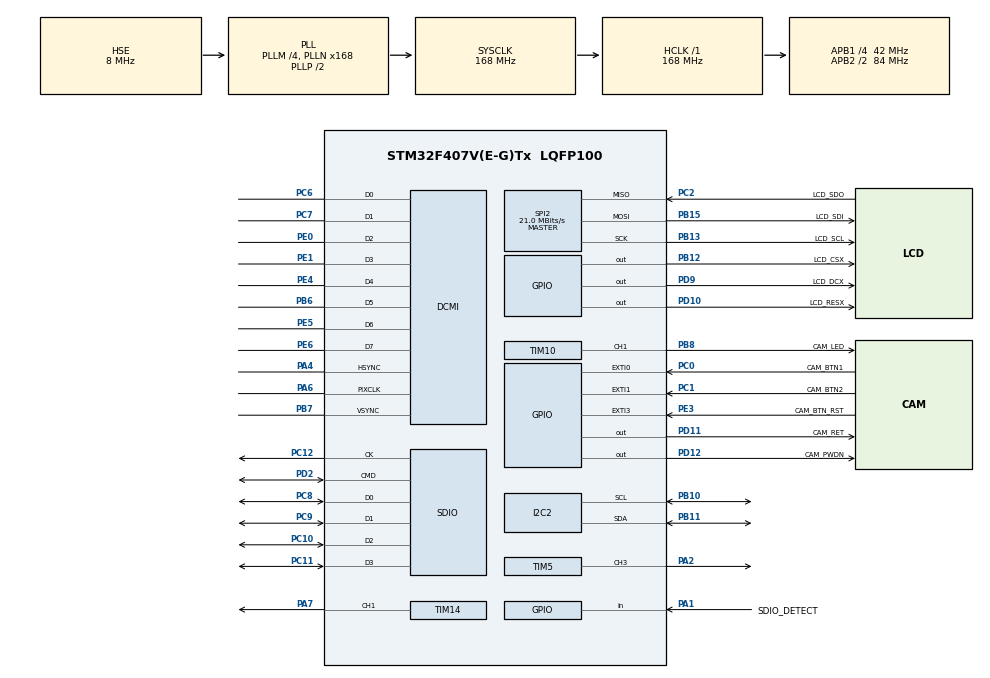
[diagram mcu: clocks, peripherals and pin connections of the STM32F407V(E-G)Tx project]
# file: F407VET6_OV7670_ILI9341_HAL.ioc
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DCMI.PCKPolarity=DCMI_PCKPOLARITY_RISING
DCMI.VSPolarity=DCMI_VSPOLARITY_HIGH
Dma.DCMI.1.Direction=DMA_PERIPH_TO_MEMORY
Dma.DCMI.1.FIFOMode=DMA_FIFOMODE_DISABLE
Dma.DCMI.1.Instance=DMA2_Stream1
Dma.DCMI.1.MemDataAlignment=DMA_MDATAALIGN_WORD
Dma.DCMI.1.MemInc=DMA_MINC_ENABLE
Dma.DCMI.1.Mode=DMA_NORMAL
Dma.DCMI.1.PeriphDataAlignment=DMA_PDATAALIGN_WORD
Dma.DCMI.1.PeriphInc=DMA_PINC_DISABLE
Dma.DCMI.1.Priority=DMA_PRIORITY_LOW
Dma.Request0=SPI2_TX
Dma.Request1=DCMI
Dma.SPI2_TX.0.Direction=DMA_MEMORY_TO_PERIPH
Dma.SPI2_TX.0.FIFOMode=DMA_FIFOMODE_DISABLE
Dma.SPI2_TX.0.Instance=DMA1_Stream4
Dma.SPI2_TX.0.MemDataAlignment=DMA_MDATAALIGN_HALFWORD
Dma.SPI2_TX.0.MemInc=DMA_MINC_ENABLE
Dma.SPI2_TX.0.Mode=DMA_NORMAL
Dma.SPI2_TX.0.PeriphDataAlignment=DMA_PDATAALIGN_HALFWORD
Dma.SPI2_TX.0.PeriphInc=DMA_PINC_DISABLE
Dma.SPI2_TX.0.Priority=DMA_PRIORITY_VERY_HIGH
FATFS.BSP.number=1
FATFS._CODE_PAGE=850
FATFS._MAX_SS=4096
FATFS._USE_LFN=3
FATFS0.BSP.STBoard=false
FATFS0.BSP.api=Unknown
FATFS0.BSP.instance=PA1
FATFS0.BSP.ip=GPIO
FATFS0.BSP.mode=Input
FATFS0.BSP.name=Detect_SDIO
FATFS0.BSP.solution=PA1
I2C2.I2C_Mode=I2C_Fast
Mcu.Family=STM32F4
Mcu.Name=STM32F407V(E-G)Tx
Mcu.Package=LQFP100
NVIC.DCMI_IRQn=true\:2\:0\:true\:false\:true\:true\:true\:true
NVIC.DMA1_Stream4_IRQn=true\:2\:0\:true\:false\:true\:false\:true\:true
NVIC.DMA2_Stream1_IRQn=true\:2\:0\:true\:false\:true\:false\:true\:true
NVIC.EXTI0_IRQn=true\:0\:0\:true\:false\:true\:true\:true\:true
NVIC.EXTI1_IRQn=true\:0\:0\:true\:false\:true\:true\:true\:true
NVIC.EXTI3_IRQn=true\:0\:0\:false\:false\:true\:true\:true\:true
NVIC.PriorityGroup=NVIC_PRIORITYGROUP_4
NVIC.TIM1_TRG_COM_TIM11_IRQn=true\:1\:0\:true\:false\:true\:true\:true\:true
PA1.GPIO_Label=SDIO_DETECT
PA1.GPIO_PuPd=GPIO_PULLDOWN
PA1.Signal=GPIO_Input
PA13.Mode=Trace_Asynchronous_SW
PA13.Signal=SYS_JTMS-SWDIO
PA14.Mode=Trace_Asynchronous_SW
PA14.Signal=SYS_JTCK-SWCLK
PA2.GPIO_Speed=GPIO_SPEED_FREQ_VERY_HIGH
PA2.Signal=S_TIM5_CH3
PA4.GPIO_PuPd=GPIO_PULLDOWN
PA4.GPIO_Speed=GPIO_SPEED_FREQ_VERY_HIGH
PA4.Mode=Slave_8_bits_External_Synchro
PA4.Signal=DCMI_HSYNC
PA6.GPIO_PuPd=GPIO_PULLDOWN
PA6.GPIO_Speed=GPIO_SPEED_FREQ_VERY_HIGH
PA6.Mode=Slave_8_bits_External_Synchro
PA6.Signal=DCMI_PIXCLK
PA7.Signal=S_TIM14_CH1
PB10.GPIO_Pu=GPIO_PULLUP
PB10.Mode=I2C
PB10.Signal=I2C2_SCL
PB11.GPIO_Pu=GPIO_PULLUP
PB11.Mode=I2C
PB11.Signal=I2C2_SDA
PB12.GPIO_Label=LCD_CSX
PB12.GPIO_Speed=GPIO_SPEED_FREQ_VERY_HIGH
PB12.PinState=GPIO_PIN_SET
PB12.Signal=GPIO_Output
PB13.GPIO_Label=LCD_SCL
PB13.Mode=Full_Duplex_Master
PB13.Signal=SPI2_SCK
PB15.GPIO_Label=LCD_SDI
PB15.Mode=Full_Duplex_Master
PB15.Signal=SPI2_MOSI
PB3.Mode=Trace_Asynchronous_SW
PB3.Signal=SYS_JTDO-SWO
PB6.GPIO_PuPd=GPIO_PULLDOWN
PB6.GPIO_Speed=GPIO_SPEED_FREQ_VERY_HIGH
PB6.Mode=Slave_8_bits_External_Synchro
PB6.Signal=DCMI_D5
PB7.GPIO_PuPd=GPIO_PULLDOWN
PB7.GPIO_Speed=GPIO_SPEED_FREQ_VERY_HIGH
PB7.Mode=Slave_8_bits_External_Synchro
PB7.Signal=DCMI_VSYNC
PB8.GPIO_Label=CAM_LED
PB8.Signal=S_TIM10_CH1
PC0.GPIO_Label=CAM_BTN1
PC0.GPIO_ModeDefaultEXTI=GPIO_MODE_IT_RISING_FALLING
PC0.GPIO_PuPd=GPIO_NOPULL
PC0.Signal=GPXTI0
PC1.GPIO_Label=CAM_BTN2
PC1.GPIO_ModeDefaultEXTI=GPIO_MODE_IT_RISING_FALLING
PC1.Signal=GPXTI1
PC10.GPIO_PuPd=GPIO_PULLUP
PC10.Mode=SD_4_bits_Wide_bus
PC10.Signal=SDIO_D2
PC11.GPIO_PuPd=GPIO_PULLUP
PC11.Mode=SD_4_bits_Wide_bus
PC11.Signal=SDIO_D3
PC12.GPIO_PuPd=GPIO_PULLUP
PC12.Mode=SD_4_bits_Wide_bus
PC12.Signal=SDIO_CK
PC2.GPIO_Label=LCD_SDO
PC2.Mode=Full_Duplex_Master
PC2.Signal=SPI2_MISO
PC6.GPIO_PuPd=GPIO_PULLDOWN
PC6.GPIO_Speed=GPIO_SPEED_FREQ_VERY_HIGH
PC6.Mode=Slave_8_bits_External_Synchro
PC6.Signal=DCMI_D0
PC7.GPIO_PuPd=GPIO_PULLDOWN
PC7.GPIO_Speed=GPIO_SPEED_FREQ_VERY_HIGH
PC7.Mode=Slave_8_bits_External_Synchro
PC7.Signal=DCMI_D1
PC8.GPIO_PuPd=GPIO_PULLUP
PC8.Mode=SD_4_bits_Wide_bus
PC8.Signal=SDIO_D0
PC9.GPIO_PuPd=GPIO_PULLUP
PC9.Mode=SD_4_bits_Wide_bus
PC9.Signal=SDIO_D1
PD10.GPIO_Label=LCD_RESX
PD10.GPIO_Speed=GPIO_SPEED_FREQ_HIGH
PD10.PinState=GPIO_PIN_SET
PD10.Signal=GPIO_Output
PD11.GPIO_Label=CAM_RET
PD11.Signal=GPIO_Output
PD12.GPIO_Label=CAM_PWDN
PD12.Signal=GPIO_Output
PD2.GPIO_PuPd=GPIO_PULLUP
PD2.Mode=SD_4_bits_Wide_bus
PD2.Signal=SDIO_CMD
PD9.GPIO_Label=LCD_DCX
PD9.GPIO_Speed=GPIO_SPEED_FREQ_HIGH
PD9.PinState=GPIO_PIN_SET
PD9.Signal=GPIO_Output
PE0.GPIO_PuPd=GPIO_PULLDOWN
PE0.GPIO_Speed=GPIO_SPEED_FREQ_VERY_HIGH
PE0.Mode=Slave_8_bits_External_Synchro
PE0.Signal=DCMI_D2
PE1.GPIO_PuPd=GPIO_PULLDOWN
PE1.GPIO_Speed=GPIO_SPEED_FREQ_VERY_HIGH
PE1.Mode=Slave_8_bits_External_Synchro
PE1.Signal=DCMI_D3
PE3.GPIO_Label=CAM_BTN_RST
PE3.GPIO_ModeDefaultEXTI=GPIO_MODE_IT_FALLING
PE3.GPIO_PuPd=GPIO_PULLUP
PE3.Signal=GPXTI3
PE4.GPIO_PuPd=GPIO_PULLDOWN
PE4.GPIO_Speed=GPIO_SPEED_FREQ_VERY_HIGH
PE4.Mode=Slave_8_bits_External_Synchro
PE4.Signal=DCMI_D4
PE5.GPIO_PuPd=GPIO_PULLDOWN
PE5.GPIO_Speed=GPIO_SPEED_FREQ_VERY_HIGH
PE5.Mode=Slave_8_bits_External_Synchro
PE5.Signal=DCMI_D6
PE6.GPIO_PuPd=GPIO_PULLDOWN
PE6.GPIO_Speed=GPIO_SPEED_FREQ_VERY_HIGH
PE6.Mode=Slave_8_bits_External_Synchro
PE6.Signal=DCMI_D7
PH0-OSC_IN.Mode=HSE-External-Oscillator
PH0-OSC_IN.Signal=RCC_OSC_IN
PH1-OSC_OUT.Mode=HSE-External-Oscillator
PH1-OSC_OUT.Signal=RCC_OSC_OUT
ProjectManager.HeapSize=0x100
ProjectManager.StackSize=0x600
ProjectManager.TargetToolchain=STM32CubeIDE
RCC.48MHZClocksFreq_Value=48000000
RCC.AHBFreq_Value=168000000
RCC.APB1CLKDivider=RCC_HCLK_DIV4
RCC.APB1Freq_Value=42000000
RCC.APB1TimFreq_Value=84000000
RCC.APB2CLKDivider=RCC_HCLK_DIV2
RCC.APB2Freq_Value=84000000
RCC.APB2TimFreq_Value=168000000
RCC.CortexFreq_Value=168000000
RCC.HCLKFreq_Value=168000000
RCC.HSE_VALUE=8000000
RCC.HSI_VALUE=16000000
RCC.LSE_VALUE=32768
RCC.PLLM=4
RCC.PLLN=168
RCC.PLLQ=7
RCC.PLLSourceVirtual=RCC_PLLSOURCE_HSE
RCC.RCC_MCO1Source=RCC_MCO1SOURCE_PLLCLK
RCC.RCC_MCODiv1=RCC_MCODIV_4
RCC.SYSCLKFreq_VALUE=168000000
RCC.SYSCLKSource=RCC_SYSCLKSOURCE_PLLCLK
RCC.VCOOutputFreq_Value=336000000
SDIO.ClockDiv=4
SH.S_TIM10_CH1.0=TIM10_CH1,Output Compare1 CH1
SH.S_TIM14_CH1.0=TIM14_CH1,PWM Generation1 CH1
SH.S_TIM5_CH3.0=TIM5_CH3,Output Compare3 CH3
SPI2.BaudRatePrescaler=SPI_BAUDRATEPRESCALER_2
SPI2.CalculateBaudRate=21.0 MBits/s
SPI2.DataSize=SPI_DATASIZE_8BIT
SPI2.Direction=SPI_DIRECTION_2LINES
SPI2.Mode=SPI_MODE_MASTER
SPI2.VirtualType=VM_MASTER
TIM10.Channel=TIM_CHANNEL_1
TIM10.ClockDivision=TIM_CLOCKDIVISION_DIV4
TIM10.OCMode_1=TIM_OCMODE_TOGGLE
TIM10.Period=999
TIM10.Prescaler=8399
TIM10.Pulse=500
TIM11.ClockDivision=TIM_CLOCKDIVISION_DIV2
TIM11.Period=99
TIM11.Prescaler=8399
TIM14.Channel=TIM_CHANNEL_1
TIM14.OCMode_PWM=TIM_OCMODE_PWM2
TIM5.AutoReloadPreload=TIM_AUTORELOAD_PRELOAD_DISABLE
TIM5.Channel-Output\ Compare3\ CH3=TIM_CHANNEL_3
TIM5.ClockDivision=TIM_CLOCKDIVISION_DIV1
TIM5.OC3Preload=DISABLE
TIM5.OCMode_3=TIM_OCMODE_TOGGLE
TIM5.OCPolarity_3=TIM_OCPOLARITY_LOW
TIM5.Period=1
TIM5.Prescaler=0
TIM5.Pulse-Output\ Compare3\ CH3=1
TIM5.TIM_MasterOutputTrigger=TIM_TRGO_RESET
VP_FATFS_VS_SDIO.Mode=SDIO
VP_LIBJPEG_VS_JPEGLIB.Mode=Enabled
VP_TIM10_VS_ClockSourceINT.Mode=Enable_Timer
VP_TIM11_VS_ClockSourceINT.Mode=Enable_Timer
VP_TIM14_VS_ClockSourceINT.Mode=Enable_Timer
board=custom

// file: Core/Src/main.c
/* USER CODE BEGIN Header */
/**
  ******************************************************************************
  * @file           : main.c
  * @brief          : Main program body
  ******************************************************************************
  * @attention
  *
  * Copyright (c) 2024 STMicroelectronics.
  * All rights reserved.
  *
  * This software is licensed under terms that can be found in the LICENSE file
  * in the root directory of this software component.
  * If no LICENSE file comes with this software, it is provided AS-IS.
  *
  ******************************************************************************
  */
/* USER CODE END Header */
#include "main.h"
#include "dcmi.h"
#include "dma.h"
#include "fatfs.h"
#include "i2c.h"
#include "libjpeg.h"
#include "sdio.h"
#include "spi.h"
#include "tim.h"
#include "gpio.h"

/* USER CODE BEGIN Includes */
#include "StateM.h"
/* USER CODE END Includes */

/* USER CODE BEGIN PM */

#define APP_COMBINED_VERSION    ((APP_MAJOR_VERSION << 16U) | (APP_MINOR_VERSION))
/* USER CODE END PM */

/* USER CODE BEGIN PV */

/* SW Metadata: CRC and Version */
__attribute__((section(".app_metadata")))\
const Metadata_t app_metadata =
{
    .crc_value = 0xFFFFFFFF,          // CRC32 (to be updated by the script)
    .version = APP_COMBINED_VERSION,  // Combined major and minor version
};

/* Application HEADER */
__attribute__((section(".app_header")))\
const Header_t app_header = {
    .metadata_addr = (uint32_t)&app_metadata,
    .label = APPLICATION_SW,
};
/* USER CODE END PV */

void SystemClock_Config(void);

int main(void)
{

  /* USER CODE BEGIN 1 */

  DEBUG_STACK_PAINT();
  /* USER CODE END 1 */

  /* MCU Configuration--------------------------------------------------------*/

  /* Reset of all peripherals, Initializes the Flash interface and the Systick. */
  HAL_Init();

  /* Configure the system clock */
  SystemClock_Config();

  /* Initialize all configured peripherals */
  MX_GPIO_Init();
  MX_DMA_Init();
  MX_SPI2_Init();
  MX_DCMI_Init();
  MX_I2C2_Init();
  MX_TIM5_Init();
  MX_TIM14_Init();
  MX_TIM11_Init();
  MX_TIM10_Init();
  MX_SDIO_SD_Init();
  MX_FATFS_Init();
  MX_LIBJPEG_Init();
  /* USER CODE BEGIN 2 */
  StateM_Init();
  /* USER CODE END 2 */

  /* Infinite loop */
  while (1)
  {

    /* USER CODE BEGIN 3 */
      StateM_Dispatch();
      DEBUG_STACK_ANALYZE();
  }
  /* USER CODE END 3 */
}

void SystemClock_Config(void)
{
  RCC_OscInitTypeDef RCC_OscInitStruct = {0};
  RCC_ClkInitTypeDef RCC_ClkInitStruct = {0};

  /** Configure the main internal regulator output voltage
  */
  __HAL_RCC_PWR_CLK_ENABLE();
  __HAL_PWR_VOLTAGESCALING_CONFIG(PWR_REGULATOR_VOLTAGE_SCALE1);

  /** Initializes the RCC Oscillators according to the specified parameters
  * in the RCC_OscInitTypeDef structure.
  */
  RCC_OscInitStruct.OscillatorType = RCC_OSCILLATORTYPE_HSE;
  RCC_OscInitStruct.HSEState = RCC_HSE_ON;
  RCC_OscInitStruct.PLL.PLLState = RCC_PLL_ON;
  RCC_OscInitStruct.PLL.PLLSource = RCC_PLLSOURCE_HSE;
  RCC_OscInitStruct.PLL.PLLM = 4;
  RCC_OscInitStruct.PLL.PLLN = 168;
  RCC_OscInitStruct.PLL.PLLP = RCC_PLLP_DIV2;
  RCC_OscInitStruct.PLL.PLLQ = 7;
  if (HAL_RCC_OscConfig(&RCC_OscInitStruct) != HAL_OK)
  {
    Error_Handler();
  }

  /** Initializes the CPU, AHB and APB buses clocks
  */
  RCC_ClkInitStruct.ClockType = RCC_CLOCKTYPE_HCLK|RCC_CLOCKTYPE_SYSCLK
                              |RCC_CLOCKTYPE_PCLK1|RCC_CLOCKTYPE_PCLK2;
  RCC_ClkInitStruct.SYSCLKSource = RCC_SYSCLKSOURCE_PLLCLK;
  RCC_ClkInitStruct.AHBCLKDivider = RCC_SYSCLK_DIV1;
  RCC_ClkInitStruct.APB1CLKDivider = RCC_HCLK_DIV4;
  RCC_ClkInitStruct.APB2CLKDivider = RCC_HCLK_DIV2;

  if (HAL_RCC_ClockConfig(&RCC_ClkInitStruct, FLASH_LATENCY_5) != HAL_OK)
  {
    Error_Handler();
  }
}

void Error_Handler(void)
{
  __disable_irq();
  while (1)
  {
  }
}
